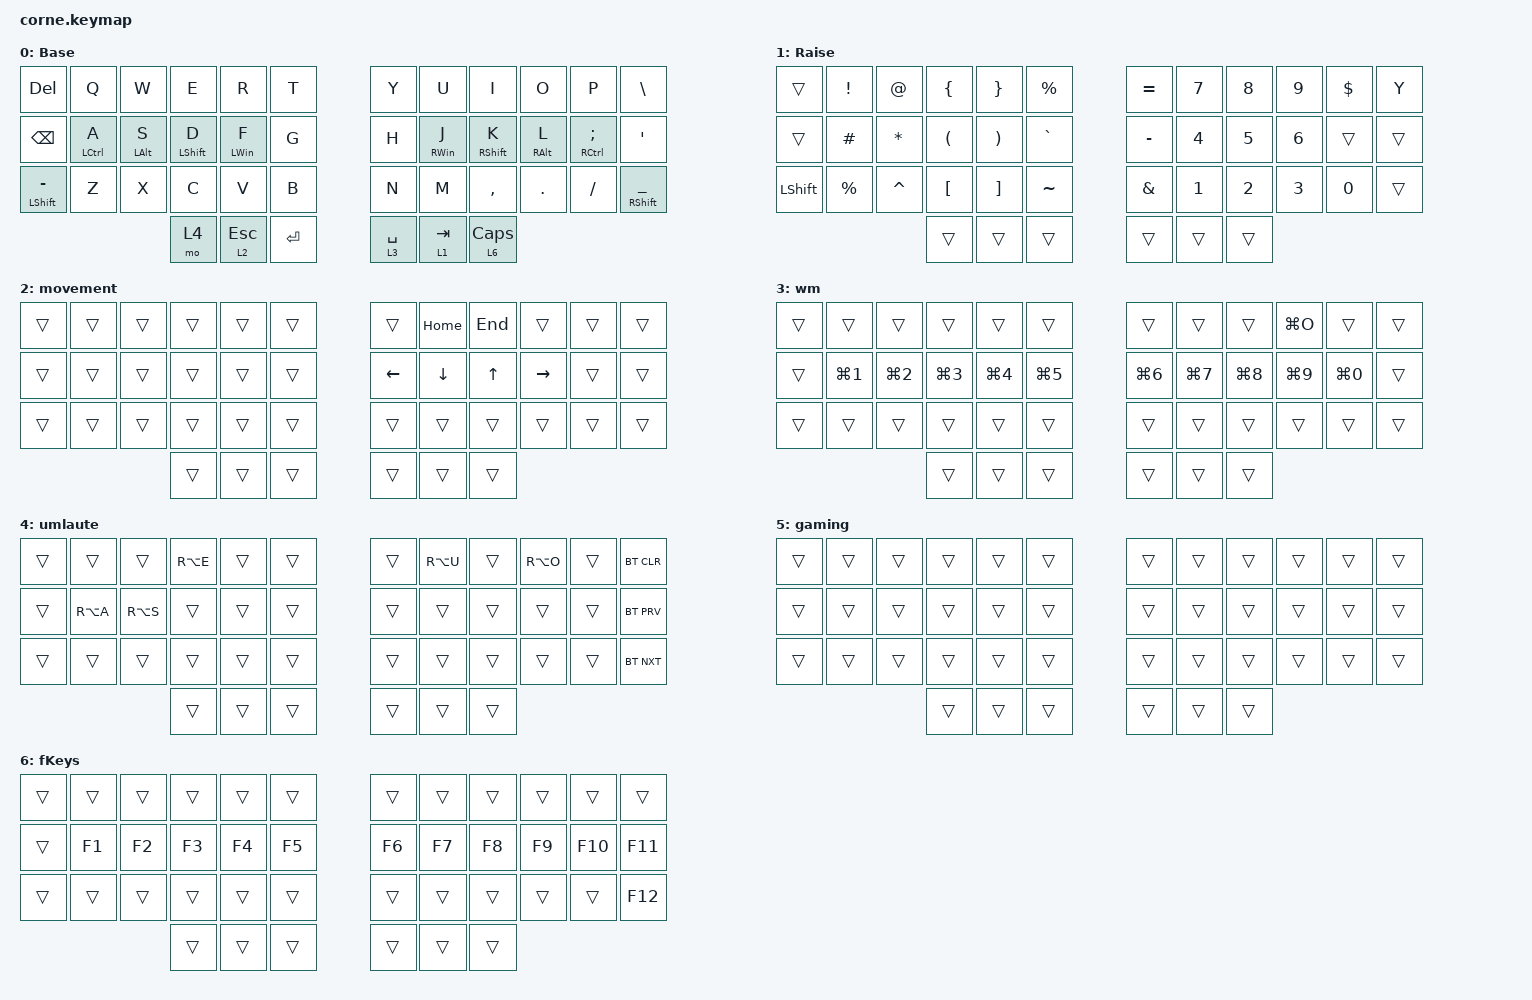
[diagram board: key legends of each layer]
/*
 * Copyright (c) 2020 The ZMK Contributors
 *
 * SPDX-License-Identifier: MIT
 */

#include <behaviors.dtsi>
#include <dt-bindings/zmk/bt.h>
#include <dt-bindings/zmk/keys.h>

&mt {
    tapping-term-ms = <150>;
    flavor = "tap-preferred";
};

&lt {
    tapping-term-ms = <150>;
    flavor = "tap-preferred";
};

/ {
    keymap {
        compatible = "zmk,keymap";

        default_layer {
            // -----------------------------------------------------------------------------------------
            // |  TAB |  Q  |  W  |  E  |  R  |  T  |   |  Y  |  U   |  I  |  O  |  P  | BKSP |
            // | CTRL |  A  |  S  |  D  |  F  |  G  |   |  H  |  J   |  K  |  L  |  ;  |  '   |
            // | SHFT |  Z  |  X  |  C  |  V  |  B  |   |  N  |  M   |  ,  |  .  |  /  | ESC  |
            //                    | GUI | LWR | SPC |   | ENT | RSE  | ALT |

            display-name = "Base";
            bindings = <
&kp DELETE       &kp Q        &kp W           &kp E             &kp R           &kp T        &kp Y        &kp U            &kp I              &kp O            &kp P           &kp BACKSLASH
&kp BACKSPACE    &mt LCTRL A  &mt LEFT_ALT S  &mt LEFT_SHIFT D  &mt LEFT_WIN F  &kp G        &kp H        &mt RIGHT_WIN J  &mt RIGHT_SHIFT K  &mt RIGHT_ALT L  &mt RCTRL SEMI  &kp SQT
&mt LSHFT MINUS  &kp Z        &kp X           &kp C             &kp V           &kp B        &kp N        &kp M            &kp COMMA          &kp DOT          &kp FSLH        &mt RIGHT_SHIFT UNDERSCORE
                                              &mo 4             &lt 2 ESCAPE    &kp ENTER    &lt 3 SPACE  &lt 1 TAB        &lt 6 CAPSLOCK
            >;
        };

        symbols {
            // -----------------------------------------------------------------------------------------
            // |  TAB |  !  |  @  |  #  |  $  |  %  |   |  ^  |  &  |  *  |  (  |  )  | BKSP |
            // | CTRL |     |     |     |     |     |   |  -  |  =  |  [  |  ]  |  \  |  `   |
            // | SHFT |     |     |     |     |     |   |  _  |  +  |  {  |  }  | "|" |  ~   |
            //                    | GUI |     | SPC |   | ENT |     | ALT |

            display-name = "Raise";
            bindings = <
&trans     &kp EXCL     &kp AT     &kp LEFT_BRACE        &kp RIGHT_BRACE        &kp PRCNT    &kp EQUAL      &kp N7        &kp N8  &kp N9  &kp DOLLAR    &kp Y
&trans     &kp HASH     &kp STAR   &kp LEFT_PARENTHESIS  &kp RIGHT_PARENTHESIS  &kp GRAVE    &kp MINUS      &kp N4        &kp N5  &kp N6  &trans        &trans
&kp LSHFT  &kp PERCENT  &kp CARET  &kp LEFT_BRACKET      &kp RIGHT_BRACKET      &kp TILDE    &kp AMPERSAND  &kp NUMBER_1  &kp N2  &kp N3  &kp NUMBER_0  &trans
                                   &trans                &trans                 &trans       &trans         &trans        &trans
            >;
        };

        movement {
            bindings = <
&trans  &trans  &trans  &trans  &trans  &trans    &trans    &kp HOME  &kp END  &trans     &trans  &trans
&trans  &trans  &trans  &trans  &trans  &trans    &kp LEFT  &kp DOWN  &kp UP   &kp RIGHT  &trans  &trans
&trans  &trans  &trans  &trans  &trans  &trans    &trans    &trans    &trans   &trans     &trans  &trans
                        &trans  &trans  &trans    &trans    &trans    &trans
            >;
        };

        wm {
            bindings = <
&trans  &trans            &trans      &trans      &trans      &trans        &trans      &trans      &trans      &kp LG(O)   &trans      &trans
&trans  &kp LG(NUMBER_1)  &kp LG(N2)  &kp LG(N3)  &kp LG(N4)  &kp LG(N5)    &kp LG(N6)  &kp LG(N7)  &kp LG(N8)  &kp LG(N9)  &kp LG(N0)  &trans
&trans  &trans            &trans      &trans      &trans      &trans        &trans      &trans      &trans      &trans      &trans      &trans
                                      &trans      &trans      &trans        &trans      &trans      &trans
            >;
        };

        umlaute {
            bindings = <
&trans  &trans     &trans     &kp RA(E)  &trans  &trans    &trans  &kp RA(U)  &trans  &kp RA(O)  &trans  &bt BT_CLR
&trans  &kp RA(A)  &kp RA(S)  &trans     &trans  &trans    &trans  &trans     &trans  &trans     &trans  &bt BT_PRV
&trans  &trans     &trans     &trans     &trans  &trans    &trans  &trans     &trans  &trans     &trans  &bt BT_NXT
                              &trans     &trans  &trans    &trans  &trans     &trans
            >;
        };

        gaming {
            bindings = <
&trans  &trans  &trans  &trans  &trans  &trans    &trans  &trans  &trans  &trans  &trans  &trans
&trans  &trans  &trans  &trans  &trans  &trans    &trans  &trans  &trans  &trans  &trans  &trans
&trans  &trans  &trans  &trans  &trans  &trans    &trans  &trans  &trans  &trans  &trans  &trans
                        &trans  &trans  &trans    &trans  &trans  &trans
            >;
        };

        fKeys {
            bindings = <
&trans  &trans  &trans  &trans  &trans  &trans    &trans  &trans  &trans  &trans  &trans   &trans
&trans  &kp F1  &kp F2  &kp F3  &kp F4  &kp F5    &kp F6  &kp F7  &kp F8  &kp F9  &kp F10  &kp F11
&trans  &trans  &trans  &trans  &trans  &trans    &trans  &trans  &trans  &trans  &trans   &kp F12
                        &trans  &trans  &trans    &trans  &trans  &trans
            >;
        };
    };
};
